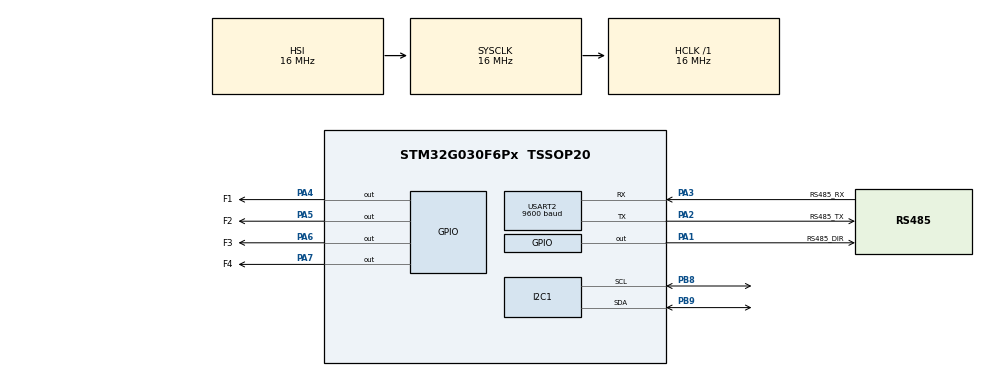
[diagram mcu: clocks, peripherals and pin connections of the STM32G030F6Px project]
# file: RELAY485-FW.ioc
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I2C1.Speed=100
I2C1.Timing=0x00303D5B
IWDG.Prescaler=IWDG_PRESCALER_16
IWDG.Reload=599
Mcu.Family=STM32G0
Mcu.Name=STM32G030F6Px
Mcu.Package=TSSOP20
NVIC.USART2_IRQn=true\:0\:0\:false\:false\:true\:true\:true\:true
PA1.GPIO_Label=RS485_DIR
PA1.Signal=GPIO_Output
PA14-BOOT0__PA15.StandardMode=true
PA2.GPIO_Label=RS485_TX
PA2.Mode=Asynchronous
PA2.Signal=USART2_TX
PA3.GPIO_Label=RS485_RX
PA3.Mode=Asynchronous
PA3.Signal=USART2_RX
PA4.GPIO_Label=F1
PA4.Signal=GPIO_Output
PA5.GPIO_Label=F2
PA5.PinState=GPIO_PIN_SET
PA5.Signal=GPIO_Output
PA6.GPIO_Label=F3
PA6.Signal=GPIO_Output
PA7.GPIO_Label=F4
PA7.PinState=GPIO_PIN_SET
PA7.Signal=GPIO_Output
PB0__PB1__PB2__PA8.StandardMode=true
PB3__PB4__PB5__PB6.StandardMode=true
PB7__PB8.StandardMode=true
PB8.GPIO_Pu=GPIO_PULLUP
PB8.Mode=I2C
PB8.Signal=I2C1_SCL
PB9.GPIO_Pu=GPIO_PULLUP
PB9.Mode=I2C
PB9.Signal=I2C1_SDA
PC14-OSC32_IN\ (PC14)__PB9.StandardMode=true
ProjectManager.HeapSize=0x200
ProjectManager.StackSize=0x400
ProjectManager.TargetToolchain=STM32CubeIDE
RCC.ADCFreq_Value=16000000
RCC.AHBFreq_Value=16000000
RCC.CortexFreq_Value=16000000
RCC.EXTERNAL_CLOCK_VALUE=12288000
RCC.HCLKFreq_Value=16000000
RCC.HSE_VALUE=8000000
RCC.HSI_VALUE=16000000
RCC.LSE_VALUE=32768
RCC.SYSCLKFreq_VALUE=16000000
RCC.VCOOutputFreq_Value=128000000
USART2.BaudRate=9600
USART2.VirtualMode-Asynchronous=VM_ASYNC
VP_IWDG_VS_IWDG.Mode=IWDG_Activate
board=custom

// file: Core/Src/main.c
/* USER CODE BEGIN Header */
/**
 ******************************************************************************
 * @file           : main.c
 * @brief          : Main program body
 ******************************************************************************
 * @attention
 *
 * <h2><center>&copy; Copyright (c) 2022 STMicroelectronics.
 * All rights reserved.</center></h2>
 *
 * This software component is licensed by ST under BSD 3-Clause license,
 * the "License"; You may not use this file except in compliance with the
 * License. You may obtain a copy of the License at:
 *                        opensource.org/licenses/BSD-3-Clause
 *
 ******************************************************************************
 */
/* USER CODE END Header */
#include "main.h"

/* USER CODE BEGIN Includes */
#include<stdio.h>
#include<stdlib.h>
#include<string.h>
#include<stdint.h>
#include<stdbool.h>
#include<math.h>
/* USER CODE END Includes */

/* USER CODE BEGIN PTD */
#include <ee.h>
/* USER CODE END PTD */

I2C_HandleTypeDef hi2c1;

IWDG_HandleTypeDef hiwdg;

UART_HandleTypeDef huart2;

void SystemClock_Config(void);
static void MX_GPIO_Init(void);
static void MX_I2C1_Init(void);
static void MX_USART2_UART_Init(void);
static void MX_IWDG_Init(void);
/* USER CODE BEGIN PFP */
enum {
  BAUD_9600 =  0,
  BAUD_14400 = 1,
  BAUD_19200 = 2
};

#define DEFAULT_ID        (1)
#define DEFAULT_BAUD_RATE BAUD_9600

struct {
  uint16_t id;
  uint16_t baud_rate;
} holding_register;

typedef struct {
  GPIO_TypeDef *port;
  uint16_t pin;
  GPIO_PinState active;
} Coil_Info_t;

const Coil_Info_t coil_address_to_gpio[] = {
    { F1_GPIO_Port, F1_Pin, GPIO_PIN_SET },
    { F2_GPIO_Port, F2_Pin, GPIO_PIN_RESET },
    { F3_GPIO_Port, F3_Pin, GPIO_PIN_SET },
    { F4_GPIO_Port, F4_Pin, GPIO_PIN_RESET }
};
const uint8_t coil_length = sizeof(coil_address_to_gpio) / sizeof(Coil_Info_t);

/* USER CODE END PFP */

/* USER CODE BEGIN 0 */
uint16_t CRC16(uint8_t *buf, int len) {
  uint16_t crc = 0xFFFF;
  for (uint16_t pos = 0; pos < len; pos++) {
    crc ^= (uint16_t)buf[pos];        // XOR byte into least sig. byte of crc
    for (int i = 8; i != 0; i--) {    // Loop over each bit
      if ((crc & 0x0001) != 0) {      // If the LSB is set
        crc >>= 1;                    // Shift right and XOR 0xA001
        crc ^= 0xA001;
      } else {                        // Else LSB is not set
        crc >>= 1;                    // Just shift right
      }
    }
  }

  return crc;
}

uint8_t modbus_state = 0;
uint32_t last_req = 0;
uint8_t function_code = 0;
uint16_t start_address = 0;
uint16_t quantity_or_value = 0;
uint16_t crc_req = 0;
uint8_t byte_count = 0;
uint8_t *data_value = NULL;
uint8_t data_value_index_and_length = 0;
bool req_process_modbus_flag = false;
uint16_t crc_check = 0;

const enum {
  READ_COIL = 1,
  WRITE_SINGLE_COIL = 5,
  READ_HOLDING_REGISTER = 3,
  WRITE_HOLDING_REGISTER = 6,
  WRITE_MULTIPLE_COILS = 15
} Function_Code_t;

uint8_t modbus_data_buffer[20];
uint8_t modbus_data_buffer_index = 0;

void ModbusSlaveProcess(UART_HandleTypeDef *huart) {
  if ((HAL_GetTick() - last_req) > 100) { // if last data more 100mS so reset to state 0
    modbus_state = 0;
    modbus_data_buffer_index = 0;
  }
  last_req = HAL_GetTick();

  uint8_t c = huart->Instance->RDR;
  modbus_data_buffer[modbus_data_buffer_index++] = c;
  if (modbus_data_buffer_index >= sizeof(modbus_data_buffer)) { // Check buffer overflow
    modbus_data_buffer_index = 0;
    modbus_state = 0;
  }

  if (modbus_state == 0) { // Devices Address
    if (c == holding_register.id) {
      function_code = 0;
      start_address = 0;
      quantity_or_value = 0;
      crc_req = 0;
      modbus_state = 1;
    }
  } else if (modbus_state == 1) { // Function code
    function_code = c;
    switch (function_code) {
      case READ_COIL: // Read Coil Status
      case WRITE_SINGLE_COIL: // Write Single Coil
      case READ_HOLDING_REGISTER: // Read Holding Register
      case WRITE_HOLDING_REGISTER: // Write Holding Register
      case WRITE_MULTIPLE_COILS: // Write Multiple Coils
        modbus_state = 2;
        break;

      default:
        modbus_state = 0;
    }
  } else if (modbus_state == 2) { // Start Address HIGH
    start_address |= ((uint16_t) c) << 8;
    modbus_state = 3;
  } else if (modbus_state == 3) { // Start Address LOW
    start_address |= c;
    modbus_state = 4;
  } else if (modbus_state == 4) { // Quantity HIGH / Value HIGH
    quantity_or_value |= ((uint16_t) c) << 8;
    modbus_state = 5;
  } else if (modbus_state == 5) { // Quantity LOW / Value HIGH
    quantity_or_value |= c;
    if (function_code == WRITE_MULTIPLE_COILS) {
      modbus_state = 10;
    } else {
      modbus_state = 6;
    }
  } else if (modbus_state == 6) { // CRC LOW
    crc_req |= c;
    modbus_state = 7;
  } else if (modbus_state == 7) { // CRC HIGH
    crc_req |= ((uint16_t) c) << 8;
    crc_check = CRC16(modbus_data_buffer, modbus_data_buffer_index - 2);
    if (crc_check == crc_req) { // Check CRC
      req_process_modbus_flag = true;
    }
    modbus_state = 0;
  } else if (modbus_state == 10) {
    byte_count = c;
    if (data_value) {
      free(data_value);
      data_value = NULL;
    }
    if (byte_count > 0) {
      data_value = (uint8_t*) malloc(byte_count);
      data_value_index_and_length = 0;
      modbus_state = 11;
    } else {
      modbus_state = 6;
    }
  } else if (modbus_state == 11) {
    data_value[data_value_index_and_length++] = c;
    if (data_value_index_and_length == byte_count) {
      modbus_state = 6;
    }
  }
}

void RS485_Transmit(uint8_t *data, uint16_t len) {
  HAL_GPIO_WritePin(RS485_DIR_GPIO_Port, RS485_DIR_Pin, GPIO_PIN_SET); // DE/RE => HIGH
  HAL_UART_Transmit(&huart2, data, len, 1000);
  HAL_GPIO_WritePin(RS485_DIR_GPIO_Port, RS485_DIR_Pin, GPIO_PIN_RESET); // DE/RE => LOW
}
/* USER CODE END 0 */

int main(void)
{

  /* MCU Configuration--------------------------------------------------------*/

  /* Reset of all peripherals, Initializes the Flash interface and the Systick. */
  HAL_Init();

  /* Configure the system clock */
  SystemClock_Config();

  /* Initialize all configured peripherals */
  MX_GPIO_Init();
  MX_I2C1_Init();
  MX_USART2_UART_Init();
  MX_IWDG_Init();
  /* USER CODE BEGIN 2 */
  ee_init();
  // Read settings from EEPROM
  memset(&holding_register, 0, sizeof(holding_register));

  ee_read(0, sizeof(holding_register), (uint8_t*) &holding_register);

  uint16_t crc_read = 0;
  ee_read(0 + sizeof(holding_register), 2, (uint8_t*) &crc_read);
  uint16_t crc_calc = CRC16((uint8_t*) &holding_register, sizeof(holding_register));
  if (crc_calc != crc_read) {
    ee_format(false); // format all if data is invaild

    // Use default
    holding_register.id = DEFAULT_ID;
    holding_register.baud_rate = DEFAULT_BAUD_RATE;
  }

  if (holding_register.id > 127) {
    holding_register.id = 0;
  }
  if (holding_register.baud_rate > BAUD_19200) {
    holding_register.baud_rate = BAUD_9600;
  }

  // UART setup
  static uint8_t dummy;
  HAL_UART_Receive_IT(&huart2, &dummy, 1);
  huart2.RxISR = ModbusSlaveProcess;

  HAL_GPIO_WritePin(RS485_DIR_GPIO_Port, RS485_DIR_Pin, GPIO_PIN_RESET); // DE/RE => LOW
  /* USER CODE END 2 */

  /* Infinite loop */
  /* USER CODE BEGIN WHILE */
	while (1)
	{
	  if (req_process_modbus_flag && (function_code == WRITE_SINGLE_COIL)) {
	    uint16_t address = start_address;
	    if ((address >= 0x0000) && (address <= (coil_length - 1))) {
	      bool isON = quantity_or_value == 0xFF00;
	      Coil_Info_t coil = coil_address_to_gpio[address];
	      HAL_GPIO_WritePin(coil.port, coil.pin, isON ? coil.active : !coil.active);
	    }

	    { // Response
	      RS485_Transmit(modbus_data_buffer, modbus_data_buffer_index);
	    }

	    req_process_modbus_flag = false;
	  }

	  if (req_process_modbus_flag && (function_code == READ_COIL)) {
	    { // Response
	      uint8_t byte_count = ceil(quantity_or_value / 8.0f);

        uint8_t buff_len = 3 + byte_count + 2; // Device ID, Function Code, Byte Count, [DATA], CRC Low, CRC High
        uint8_t data_buff[buff_len];
        memset(data_buff, 0, buff_len);

        data_buff[0] = holding_register.id; // Device ID
        data_buff[1] = READ_COIL; // Function Code
        data_buff[2] = byte_count; // Byte Count

        uint8_t bit_index = 0;
        uint8_t byte_index = 0;
        for (uint8_t i=0;i<quantity_or_value;i++) {
          uint16_t address = start_address + i;
          if ((address >= 0x0000) && (address <= (coil_length - 1))) {
            Coil_Info_t coil = coil_address_to_gpio[address];
            data_buff[3 + byte_index] |= HAL_GPIO_ReadPin(coil.port, coil.pin) == coil.active ? (1 << bit_index) : 0;
          }
          bit_index++;
          if (bit_index == 8) {
            bit_index = 0;
            byte_index++;
          }
        }

        uint16_t crc = CRC16(data_buff, buff_len - 2);
        data_buff[buff_len - 2] = crc & 0xFF; // CRC Low
        data_buff[buff_len - 1] = (crc >> 8) & 0xFF; // CRC High

        RS485_Transmit(data_buff, buff_len);
	    }

	    req_process_modbus_flag = false;
	  }

	  if (req_process_modbus_flag && (function_code == READ_HOLDING_REGISTER)) {
	    { // Response
        uint8_t res_len = 3 + (quantity_or_value * 2) + 2; // (Device ID, Function Code, Length) + DATA + (CRC Low, CRC High)
        uint8_t data_res_buffer[res_len];
        memset(data_res_buffer, 0, res_len);

        data_res_buffer[0] = holding_register.id; // Device ID
        data_res_buffer[1] = READ_HOLDING_REGISTER; // Function Code
        data_res_buffer[2] = quantity_or_value * 2; // Length

        for (uint8_t i=0;i<quantity_or_value;i++) {
          uint16_t addr = start_address + i;
          int16_t data_i16 = 0;
          if ((addr >= 0x0101) && (addr <= 0x0104)) {
            data_i16 = ((uint16_t*) &holding_register)[addr - 0x0101];
          }
          data_res_buffer[3 + (i * 2) + 0] = (data_i16 >> 8) & 0xFF;
          data_res_buffer[3 + (i * 2) + 1] = data_i16 & 0xFF;
        }

        uint16_t crc = CRC16(data_res_buffer, 3 + (quantity_or_value * 2));
        data_res_buffer[3 + (quantity_or_value * 2) + 0] = crc & 0xFF; // CRC Low
        data_res_buffer[3 + (quantity_or_value * 2) + 1] = (crc >> 8) & 0xFF; // CRC High

        RS485_Transmit(data_res_buffer, res_len);
	    }

	    req_process_modbus_flag = false;
	  }

	  if (req_process_modbus_flag && (function_code == WRITE_HOLDING_REGISTER)) {
	    if ((start_address >= 0x0101) && (start_address <= 0x0104)) {
	      ((uint16_t*) &holding_register)[start_address - 0x0101] = quantity_or_value;

	      // Save to EEPROM
	      uint8_t buff_8byte[8 * 2];
	      memset(buff_8byte, 0, sizeof(buff_8byte));
	      memcpy(&buff_8byte[0], &holding_register, sizeof(holding_register));
	      uint16_t crc = CRC16((uint8_t*) &holding_register, sizeof(holding_register));
	      memcpy(&buff_8byte[0 + sizeof(holding_register)], &crc, 2);

	      ee_format(false); // format all before write new data
	      ee_write(0, sizeof(buff_8byte), buff_8byte);
	    }

	    { // Response
	      int16_t data_i16 = 0;
	      if ((start_address >= 0x0101) && (start_address <= 0x0104)) {
	        data_i16 = ((uint16_t*) &holding_register)[start_address - 0x0101];
	      }

	      uint8_t data_buff[] = {
	          holding_register.id, // Device ID
	          WRITE_HOLDING_REGISTER, // Function Code
	          2, // Length
	          (uint8_t)(data_i16 >> 8), // Start Address Hi
	          (uint8_t)(data_i16 & 0xFF), // Start Address Lo
	          0x00, // CRC Lo
	          0x00 // CRC Hi
	      };

	      uint16_t crc = CRC16(data_buff, 6);
	      data_buff[sizeof(data_buff) - 2] = crc & 0xFF; // CRC Low
	      data_buff[sizeof(data_buff) - 1] = (crc >> 8) & 0xFF; // CRC High

	      RS485_Transmit(data_buff, sizeof(data_buff));
	    }

	    req_process_modbus_flag = false;
	  }

	  if (req_process_modbus_flag && (function_code == WRITE_MULTIPLE_COILS)) {
	    uint8_t bit_index = 0;
	    uint8_t byte_index = 0;
	    for (uint8_t i=0;i<quantity_or_value;i++) {
	      uint16_t address = start_address + i;
	      if ((address >= 0x0000) && (address <= (coil_length - 1))) {
	        bool isON = data_value[byte_index] & (1 << bit_index);
	        Coil_Info_t coil = coil_address_to_gpio[address];
	        HAL_GPIO_WritePin(coil.port, coil.pin, isON ? coil.active : !coil.active);
	      }
	      bit_index++;
	      if (bit_index == 8) {
	        bit_index = 0;
	        byte_index++;
	        if (byte_index == data_value_index_and_length) {
	          break;
	        }
	      }
	    }

	    { // Response
        uint8_t data_buff[] = {
            holding_register.id, // Device ID
            WRITE_MULTIPLE_COILS, // Function Code
            (uint8_t)(start_address >> 8), // Start Address Hi
            (uint8_t)(start_address & 0xFF), // Start Address Lo
            (uint8_t)(quantity_or_value >> 8), // Quantity of Outputs Hi
            (uint8_t)(quantity_or_value & 0xFF), // Quantity of Outputs Lo
            0x00, // CRC Lo
            0x00 // CRC Hi
        };

        uint16_t crc = CRC16(data_buff, 6);
        data_buff[sizeof(data_buff) - 2] = crc & 0xFF; // CRC Low
        data_buff[sizeof(data_buff) - 1] = (crc >> 8) & 0xFF; // CRC High

        RS485_Transmit(data_buff, sizeof(data_buff));
	    }

	    req_process_modbus_flag = false;
	  }

	  HAL_IWDG_Refresh(&hiwdg);
    /* USER CODE END WHILE */

	}
}

void SystemClock_Config(void)
{
  RCC_OscInitTypeDef RCC_OscInitStruct = {0};
  RCC_ClkInitTypeDef RCC_ClkInitStruct = {0};

  /** Configure the main internal regulator output voltage
  */
  HAL_PWREx_ControlVoltageScaling(PWR_REGULATOR_VOLTAGE_SCALE1);

  /** Initializes the RCC Oscillators according to the specified parameters
  * in the RCC_OscInitTypeDef structure.
  */
  RCC_OscInitStruct.OscillatorType = RCC_OSCILLATORTYPE_HSI|RCC_OSCILLATORTYPE_LSI;
  RCC_OscInitStruct.HSIState = RCC_HSI_ON;
  RCC_OscInitStruct.HSIDiv = RCC_HSI_DIV1;
  RCC_OscInitStruct.HSICalibrationValue = RCC_HSICALIBRATION_DEFAULT;
  RCC_OscInitStruct.LSIState = RCC_LSI_ON;
  RCC_OscInitStruct.PLL.PLLState = RCC_PLL_NONE;
  if (HAL_RCC_OscConfig(&RCC_OscInitStruct) != HAL_OK)
  {
    Error_Handler();
  }

  /** Initializes the CPU, AHB and APB buses clocks
  */
  RCC_ClkInitStruct.ClockType = RCC_CLOCKTYPE_HCLK|RCC_CLOCKTYPE_SYSCLK
                              |RCC_CLOCKTYPE_PCLK1;
  RCC_ClkInitStruct.SYSCLKSource = RCC_SYSCLKSOURCE_HSI;
  RCC_ClkInitStruct.AHBCLKDivider = RCC_SYSCLK_DIV1;
  RCC_ClkInitStruct.APB1CLKDivider = RCC_HCLK_DIV1;

  if (HAL_RCC_ClockConfig(&RCC_ClkInitStruct, FLASH_LATENCY_0) != HAL_OK)
  {
    Error_Handler();
  }
}

static void MX_I2C1_Init(void)
{

  hi2c1.Instance = I2C1;
  hi2c1.Init.Timing = 0x00303D5B;
  hi2c1.Init.OwnAddress1 = 0;
  hi2c1.Init.AddressingMode = I2C_ADDRESSINGMODE_7BIT;
  hi2c1.Init.DualAddressMode = I2C_DUALADDRESS_DISABLE;
  hi2c1.Init.OwnAddress2 = 0;
  hi2c1.Init.OwnAddress2Masks = I2C_OA2_NOMASK;
  hi2c1.Init.GeneralCallMode = I2C_GENERALCALL_DISABLE;
  hi2c1.Init.NoStretchMode = I2C_NOSTRETCH_DISABLE;
  if (HAL_I2C_Init(&hi2c1) != HAL_OK)
  {
    Error_Handler();
  }

  /** Configure Analogue filter
  */
  if (HAL_I2CEx_ConfigAnalogFilter(&hi2c1, I2C_ANALOGFILTER_ENABLE) != HAL_OK)
  {
    Error_Handler();
  }

  /** Configure Digital filter
  */
  if (HAL_I2CEx_ConfigDigitalFilter(&hi2c1, 0) != HAL_OK)
  {
    Error_Handler();
  }

}

static void MX_IWDG_Init(void)
{

  hiwdg.Instance = IWDG;
  hiwdg.Init.Prescaler = IWDG_PRESCALER_16;
  hiwdg.Init.Window = 4095;
  hiwdg.Init.Reload = 599;
  if (HAL_IWDG_Init(&hiwdg) != HAL_OK)
  {
    Error_Handler();
  }

}

static void MX_USART2_UART_Init(void)
{

  huart2.Instance = USART2;
  huart2.Init.BaudRate = 9600;
  huart2.Init.WordLength = UART_WORDLENGTH_8B;
  huart2.Init.StopBits = UART_STOPBITS_1;
  huart2.Init.Parity = UART_PARITY_NONE;
  huart2.Init.Mode = UART_MODE_TX_RX;
  huart2.Init.HwFlowCtl = UART_HWCONTROL_NONE;
  huart2.Init.OverSampling = UART_OVERSAMPLING_16;
  huart2.Init.OneBitSampling = UART_ONE_BIT_SAMPLE_DISABLE;
  huart2.Init.ClockPrescaler = UART_PRESCALER_DIV1;
  huart2.AdvancedInit.AdvFeatureInit = UART_ADVFEATURE_NO_INIT;
  if (HAL_UART_Init(&huart2) != HAL_OK)
  {
    Error_Handler();
  }

}

static void MX_GPIO_Init(void)
{
  GPIO_InitTypeDef GPIO_InitStruct = {0};

  /* GPIO Ports Clock Enable */
  __HAL_RCC_GPIOB_CLK_ENABLE();
  __HAL_RCC_GPIOA_CLK_ENABLE();

  /*Configure GPIO pin Output Level */
  HAL_GPIO_WritePin(GPIOA, RS485_DIR_Pin|F1_Pin|F3_Pin, GPIO_PIN_RESET);

  /*Configure GPIO pin Output Level */
  HAL_GPIO_WritePin(GPIOA, F2_Pin|F4_Pin, GPIO_PIN_SET);

  /*Configure GPIO pins : RS485_DIR_Pin F1_Pin F2_Pin F3_Pin
                           F4_Pin */
  GPIO_InitStruct.Pin = RS485_DIR_Pin|F1_Pin|F2_Pin|F3_Pin
                          |F4_Pin;
  GPIO_InitStruct.Mode = GPIO_MODE_OUTPUT_PP;
  GPIO_InitStruct.Pull = GPIO_NOPULL;
  GPIO_InitStruct.Speed = GPIO_SPEED_FREQ_LOW;
  HAL_GPIO_Init(GPIOA, &GPIO_InitStruct);

}

void Error_Handler(void)
{
	__disable_irq();
	while (1)
	{
	}
}
